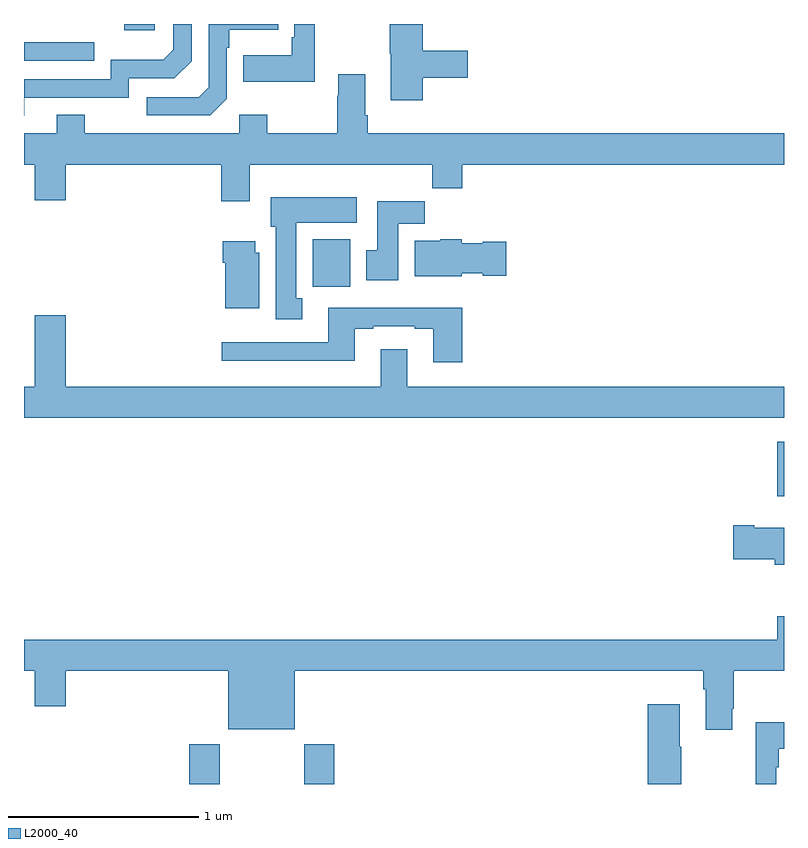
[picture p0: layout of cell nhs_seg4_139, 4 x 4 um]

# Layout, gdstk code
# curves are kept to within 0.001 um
import gdstk
lib = gdstk.Library(unit=1e-6, precision=1e-09)
def R(c, l, rs):  # rectangles x0, y0, x1, y1
    for r in rs: c.add(gdstk.rectangle(r[:2], r[2:], *l))
def P(c, l, *ps):  # polygons
    for p in ps: c.add(gdstk.Polygon(p, *l))
L2000_40 = (2000, 40)

nhs_seg4_139 = lib.new_cell('nhs_seg4_139')
R(nhs_seg4_139, L2000_40, [(117.869,786.9,118.029,787.108), (118.474,786.9,118.634,787.108), (120.965,788.414,121,788.701), (118.521,789.516,118.717,789.766), (117,790.707,117.371,790.803), (117.527,790.868,117.688,790.9)])
P(nhs_seg4_139, L2000_40, [(118.068,790.506),(118.068,790.775),(118.081,790.775),(118.081,790.871),(118.337,790.871),(118.337,790.9),(117.972,790.9),(117.972,790.566),(117.921,790.515),(117.645,790.515),(117.645,790.419),(117.981,790.419)],
  [(117.001,790.512),(117.552,790.512),(117.552,790.614),(117.792,790.614),(117.882,790.704),(117.882,790.9),(117.786,790.9),(117.786,790.764),(117.733,790.711),(117.456,790.711),(117.456,790.608),(117,790.608),(117,790.416)],
  [(119.099,790.618),(119.335,790.618),(119.335,790.76),(119.099,790.76),(119.099,790.9),(118.924,790.9),(118.924,790.743),(118.931,790.743),(118.931,790.5),(119.099,790.5)],
  [(118.531,790.9),(118.422,790.9),(118.422,790.831),(118.41,790.831),(118.41,790.735),(118.153,790.735),(118.153,790.595),(118.531,790.595)],
  [(118.189,790.16),(119.149,790.16),(119.149,790.036),(119.306,790.036),(119.306,790.16),(121,790.16),(121,790.324),(118.808,790.324),(118.808,790.42),(118.795,790.42),(118.795,790.636),(118.655,790.636),(118.655,790.523),(118.648,790.523),(118.648,790.324),(118.281,790.324),(118.281,790.423),(118.134,790.423),(118.134,790.324),(117.321,790.324),(117.321,790.423),(117.173,790.423),(117.173,790.324),(117,790.324),(117,790.16),(117.056,790.16),(117.056,789.972),(117.22,789.972),(117.22,790.16),(118.037,790.16),(118.037,789.966),(118.189,789.966)],
  [(118.465,789.457),(118.432,789.457),(118.432,789.854),(118.75,789.854),(118.75,789.988),(118.298,789.988),(118.298,789.834),(118.325,789.834),(118.325,789.345),(118.465,789.345)],
  [(118.969,789.848),(119.108,789.848),(119.108,789.967),(118.859,789.967),(118.859,789.708),(118.802,789.708),(118.802,789.552),(118.969,789.552)],
  [(119.304,789.587),(119.415,789.587),(119.415,789.575),(119.539,789.575),(119.539,789.753),(119.415,789.753),(119.415,789.745),(119.304,789.745),(119.304,789.766),(119.19,789.766),(119.19,789.76),(119.057,789.76),(119.057,789.572),(119.304,789.572)],
  [(118.237,789.696),(118.216,789.696),(118.216,789.757),(118.046,789.757),(118.046,789.644),(118.058,789.644),(118.058,789.404),(118.237,789.404)],
  [(119.306,789.406),(118.601,789.406),(118.601,789.225),(118.041,789.225),(118.041,789.128),(118.741,789.128),(118.741,789.297),(118.837,789.297),(118.837,789.309),(119.057,789.309),(119.057,789.297),(119.153,789.297),(119.153,789.12),(119.306,789.12)],
  [(121,788.992),(119.017,788.992),(119.017,789.187),(118.877,789.187),(118.877,788.992),(117.22,788.992),(117.22,789.367),(117.056,789.367),(117.056,788.992),(117,788.992),(117,788.828),(121,788.828)],
  [(121,788.248),(120.844,788.248),(120.844,788.261),(120.732,788.261),(120.732,788.083),(120.95,788.083),(120.95,788.054),(121,788.054)],
  [(120.727,787.297),(120.735,787.297),(120.735,787.496),(121,787.496),(121,787.784),(120.965,787.784),(120.965,787.66),(117,787.66),(117,787.496),(117.056,787.496),(117.056,787.308),(117.22,787.308),(117.22,787.496),(118.076,787.496),(118.076,787.187),(118.426,787.187),(118.426,787.496),(120.575,787.496),(120.575,787.4),(120.587,787.4),(120.587,787.185),(120.727,787.185)],
  [(120.459,787.097),(120.451,787.097),(120.451,787.321),(120.284,787.321),(120.284,786.9),(120.459,786.9)],
  [(120.96,786.989),(120.973,786.989),(120.973,787.085),(121,787.085),(121,787.225),(120.852,787.225),(120.852,786.9),(120.96,786.9)])

lib.write_gds('nhs_seg4_139.gds')
